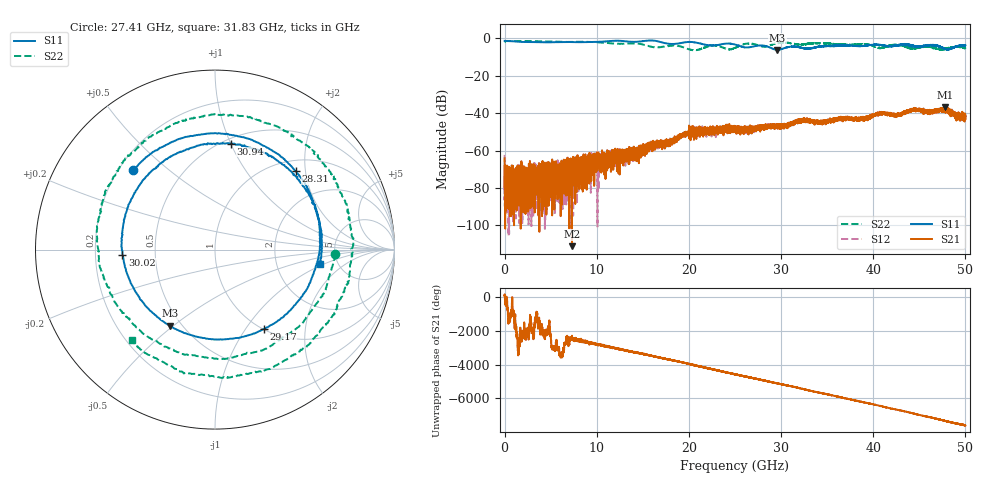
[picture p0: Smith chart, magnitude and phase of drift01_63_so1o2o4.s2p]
!Created with skrf (http://scikit-rf.org).
# Hz S RI R 50.0
!freq ReS11 ImS11 ReS21 ImS21 ReS12 ImS12 ReS22 ImS22
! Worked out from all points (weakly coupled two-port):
!   10001 points, 300 kHz to 50 GHz, reference 50 ohm
!   highest |S21| = -36.63 dB at 47.79 GHz (marker M1); lowest = -111.1 dB at 7.31 GHz (marker M2)
!   lowest |S11| = -6.1 dB at 29.61 GHz (marker M3), VSWR 2.94, Z = 21.7 - j24.3 ohm
!   |S11| at or under -10 dB: nowhere
!   |S22| runs from -6.4 to -1.4 dB; largest |S21 - S12| = 0.0038
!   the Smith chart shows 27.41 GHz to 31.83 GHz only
!   S11 on the Smith chart (normalised r, x): 27.41 GHz: 0.26, +0.38; 28.31 GHz: 1.23, +1.78; 29.17 GHz: 1.00, -1.22; 30.02 GHz: 0.32, -0.02; 30.94 GHz: 0.55, +1.00; 31.83 GHz: 3.64, -0.88
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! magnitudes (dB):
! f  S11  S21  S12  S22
! 300 kHz  -1.3  -64.1  -62.3  -2.1
! 255.3 MHz  -1.4  -78.5  -78.9  -1.4
! 365.3 MHz  -1.4  -77.8  -72.0  -1.4
! 5.915 GHz  -2.0  -68.9  -80.0  -1.8
! 7.31 GHz  -2.0  -111.1  -70.0  -1.9
! 8.335 GHz  -2.0  -69.7  -66.9  -1.8
! 10.52 GHz  -1.7  -63.8  -64.6  -2.2
! 16.67 GHz  -1.6  -56.4  -56.0  -4.8
! 20.43 GHz  -2.0  -49.4  -49.1  -6.3
! 22.62 GHz  -3.8  -48.4  -49.6  -3.8
! 25 GHz  -3.3  -48.5  -48.5  -5.0
! 27.41 GHz  -3.9  -48.0  -48.6  -3.5
! 28.31 GHz  -4.0  -47.3  -47.7  -4.3
! 29.17 GHz  -5.7  -46.0  -46.9  -3.0
! 29.61 GHz  -6.1  -47.3  -47.1  -2.6
! 30.02 GHz  -5.7  -46.8  -47.2  -2.3
! 30.94 GHz  -4.5  -45.5  -45.7  -2.4
! 31.83 GHz  -4.6  -44.4  -44.4  -3.3
! 33.34 GHz  -5.1  -44.2  -44.3  -2.6
! 41.67 GHz  -4.3  -40.4  -40.0  -3.9
! 47.79 GHz  -5.7  -36.6  -38.3  -5.6
! 50 GHz  -3.8  -41.7  -41.1  -5.2
